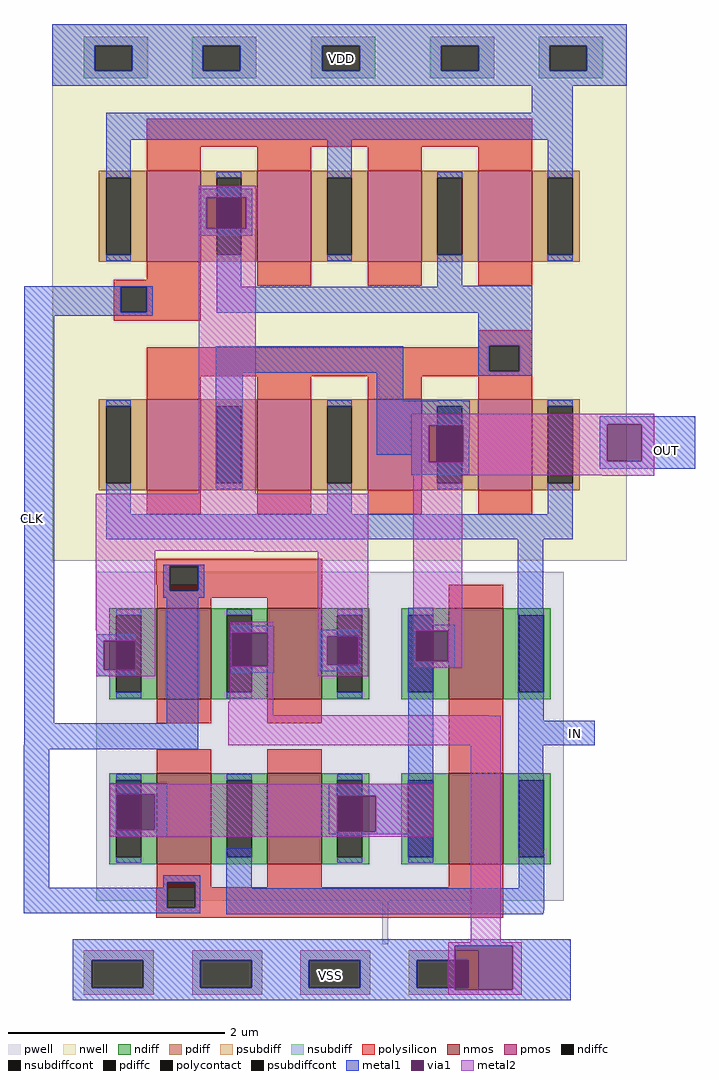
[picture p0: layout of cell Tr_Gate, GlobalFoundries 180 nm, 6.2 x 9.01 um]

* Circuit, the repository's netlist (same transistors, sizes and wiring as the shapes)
* NGSPICE file created from Tr_Gate.ext - technology: gf180mcuC

.subckt pmos_3p3_YMKZL5 a_n138_n84# a_50_n84# a_n50_n128# w_n224_n214#
X0 a_50_n84# a_n50_n128# a_n138_n84# w_n224_n214# pfet_03v3 ad=0.37p pd=2.56u as=0.37p ps=2.56u w=0.84u l=0.5u
.ends

.subckt nmos_3p3_UKFAHE a_n138_n84# a_50_n84# a_n50_n128# VSUBS
X0 a_50_n84# a_n50_n128# a_n138_n84# VSUBS nfet_03v3 ad=0.37p pd=2.56u as=0.37p ps=2.56u w=0.84u l=0.5u
.ends

.subckt Tr_Gate VSS OUT IN CLK VDD
Xpmos_3p3_YMKZL5_0 OUT IN a_174_n81# VDD pmos_3p3_YMKZL5
Xpmos_3p3_YMKZL5_1 IN OUT a_174_n81# VDD pmos_3p3_YMKZL5
Xpmos_3p3_YMKZL5_2 OUT IN a_174_n81# VDD pmos_3p3_YMKZL5
Xpmos_3p3_YMKZL5_3 IN OUT a_174_n81# VDD pmos_3p3_YMKZL5
Xpmos_3p3_YMKZL5_4 a_174_n81# VDD CLK VDD pmos_3p3_YMKZL5
Xpmos_3p3_YMKZL5_5 VDD a_174_n81# CLK VDD pmos_3p3_YMKZL5
Xnmos_3p3_UKFAHE_0 OUT IN CLK VSS nmos_3p3_UKFAHE
Xpmos_3p3_YMKZL5_6 a_174_n81# VDD CLK VDD pmos_3p3_YMKZL5
Xnmos_3p3_UKFAHE_1 IN OUT CLK VSS nmos_3p3_UKFAHE
Xpmos_3p3_YMKZL5_7 VDD a_174_n81# CLK VDD pmos_3p3_YMKZL5
Xnmos_3p3_UKFAHE_2 OUT IN CLK VSS nmos_3p3_UKFAHE
Xnmos_3p3_UKFAHE_3 OUT IN CLK VSS nmos_3p3_UKFAHE
Xnmos_3p3_UKFAHE_5 a_174_n81# VSS CLK VSS nmos_3p3_UKFAHE
Xnmos_3p3_UKFAHE_4 VSS a_174_n81# CLK VSS nmos_3p3_UKFAHE
.ends

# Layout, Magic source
magic
tech gf180mcuC
magscale 1 10
<< nwell >>
rect 0 428 1060 569
rect 815 342 870 380
rect 397 -180 398 -151
rect 145 -341 916 -337
<< pwell >>
rect 205 -475 206 -466
rect 217 -480 269 -434
rect 609 -1130 620 -442
<< pmos >>
rect 662 -180 663 -151
<< psubdiff >>
rect 58 -1160 187 -1141
rect 58 -1210 73 -1160
rect 168 -1210 187 -1160
rect 58 -1223 187 -1210
rect 258 -1160 387 -1141
rect 258 -1210 273 -1160
rect 368 -1210 387 -1160
rect 258 -1223 387 -1210
rect 458 -1160 587 -1141
rect 458 -1210 473 -1160
rect 568 -1210 587 -1160
rect 458 -1223 587 -1210
rect 658 -1160 787 -1141
rect 658 -1210 673 -1160
rect 768 -1210 787 -1160
rect 658 -1223 787 -1210
<< nsubdiff >>
rect 58 529 176 545
rect 58 483 78 529
rect 147 483 176 529
rect 58 469 176 483
rect 258 529 376 545
rect 258 483 278 529
rect 347 483 376 529
rect 258 469 376 483
rect 478 529 596 545
rect 478 483 498 529
rect 567 483 596 529
rect 478 469 596 483
rect 698 529 816 545
rect 698 483 718 529
rect 787 483 816 529
rect 698 469 816 483
rect 898 529 1016 545
rect 898 483 918 529
rect 987 483 1016 529
rect 898 469 1016 483
<< psubdiffcont >>
rect 73 -1210 168 -1160
rect 273 -1210 368 -1160
rect 473 -1210 568 -1160
rect 673 -1210 768 -1160
<< nsubdiffcont >>
rect 78 483 147 529
rect 278 483 347 529
rect 498 483 567 529
rect 718 483 787 529
rect 918 483 987 529
<< polysilicon >>
rect 174 342 886 394
rect 113 89 174 97
rect 113 84 274 89
rect 113 37 126 84
rect 174 37 274 84
rect 113 21 274 37
rect 786 -25 886 4
rect 786 -28 807 -25
rect 174 -72 807 -28
rect 862 -72 886 -25
rect 174 -81 886 -72
rect 192 -431 498 -418
rect 192 -466 217 -431
rect 205 -477 217 -466
rect 269 -466 498 -431
rect 269 -477 478 -466
rect 204 -490 478 -477
rect 490 -490 498 -466
rect 732 -770 832 -722
rect 192 -1063 212 -1025
rect 264 -1063 832 -1025
rect 192 -1081 832 -1063
<< polycontact >>
rect 126 37 174 84
rect 807 -72 862 -25
rect 217 -477 269 -431
rect 212 -1063 264 -1016
<< metal1 >>
rect 0 529 1060 569
rect 0 483 78 529
rect 147 483 278 529
rect 347 483 498 529
rect 567 483 718 529
rect 787 483 918 529
rect 987 483 1060 529
rect 0 455 1060 483
rect 885 405 961 455
rect 99 355 961 405
rect 99 285 145 355
rect 507 285 553 355
rect 915 285 961 355
rect 270 249 369 265
rect 270 191 284 249
rect 358 191 369 249
rect 270 178 369 191
rect -52 84 185 85
rect -52 37 126 84
rect 174 37 185 84
rect -52 30 185 37
rect 303 84 349 132
rect 711 86 757 132
rect 711 84 886 86
rect 303 36 886 84
rect -52 -722 3 30
rect 786 -25 886 36
rect 302 -75 648 -26
rect 302 -288 351 -75
rect 599 -127 648 -75
rect 786 -72 807 -25
rect 862 -72 886 -25
rect 786 -80 886 -72
rect 599 -172 771 -127
rect 599 -226 695 -172
rect 663 -240 695 -226
rect 759 -195 771 -172
rect 1011 -170 1187 -155
rect 759 -240 770 -195
rect 663 -263 770 -240
rect 1011 -238 1024 -170
rect 1088 -238 1187 -170
rect 1011 -252 1187 -238
rect 99 -336 145 -290
rect 507 -336 553 -290
rect 915 -336 961 -290
rect 99 -382 961 -336
rect 205 -431 280 -429
rect 205 -477 217 -431
rect 269 -477 280 -431
rect 205 -490 280 -477
rect 81 -570 154 -558
rect 81 -623 95 -570
rect 153 -623 154 -570
rect 81 -635 154 -623
rect 211 -722 269 -490
rect 657 -540 703 -509
rect 329 -555 409 -542
rect 329 -617 331 -555
rect 398 -617 409 -555
rect 329 -629 409 -617
rect 494 -561 567 -549
rect 494 -614 507 -561
rect 565 -614 567 -561
rect 494 -626 567 -614
rect 657 -551 743 -540
rect 657 -608 671 -551
rect 731 -608 743 -551
rect 657 -620 743 -608
rect -52 -762 269 -722
rect -53 -770 269 -762
rect -53 -1026 -6 -770
rect 106 -853 212 -833
rect 657 -834 703 -620
rect 859 -665 906 -382
rect 859 -667 907 -665
rect 106 -919 118 -853
rect 189 -919 212 -853
rect 106 -932 212 -919
rect 510 -856 703 -834
rect 510 -922 526 -856
rect 597 -922 703 -856
rect 510 -927 703 -922
rect 205 -1016 273 -1003
rect 205 -1026 212 -1016
rect -53 -1063 212 -1026
rect 264 -1063 273 -1016
rect -53 -1073 273 -1063
rect 321 -1027 368 -953
rect 657 -977 703 -927
rect 860 -717 907 -667
rect 860 -763 1001 -717
rect 860 -953 906 -763
rect 861 -1027 908 -954
rect 321 -1067 908 -1027
rect 321 -1072 907 -1067
rect 321 -1075 906 -1072
rect 38 -1133 957 -1121
rect 38 -1160 743 -1133
rect 38 -1210 73 -1160
rect 168 -1210 273 -1160
rect 368 -1210 473 -1160
rect 568 -1210 673 -1160
rect 38 -1214 743 -1210
rect 850 -1214 957 -1133
rect 38 -1233 957 -1214
<< via1 >>
rect 284 191 358 249
rect 695 -240 759 -172
rect 1024 -238 1088 -170
rect 95 -623 153 -570
rect 331 -617 398 -555
rect 507 -614 565 -561
rect 671 -608 731 -551
rect 118 -919 189 -853
rect 526 -922 597 -856
rect 743 -1160 850 -1133
rect 743 -1210 768 -1160
rect 768 -1210 850 -1160
rect 743 -1214 850 -1210
<< metal2 >>
rect 270 265 375 270
rect 270 249 376 265
rect 270 191 284 249
rect 358 191 376 249
rect 270 -298 375 191
rect 663 -170 1111 -151
rect 663 -172 1024 -170
rect 663 -240 695 -172
rect 759 -238 1024 -172
rect 1088 -238 1111 -170
rect 759 -240 1111 -238
rect 663 -264 1111 -240
rect 80 -404 583 -298
rect 80 -550 190 -404
rect 373 -405 583 -404
rect 81 -570 190 -550
rect 81 -623 95 -570
rect 153 -623 190 -570
rect 81 -635 190 -623
rect 327 -542 408 -535
rect 327 -555 409 -542
rect 327 -617 331 -555
rect 398 -617 409 -555
rect 327 -629 409 -617
rect 490 -561 583 -405
rect 490 -614 507 -561
rect 565 -614 583 -561
rect 327 -682 408 -629
rect 490 -635 583 -614
rect 666 -551 757 -264
rect 1015 -265 1111 -264
rect 666 -608 671 -551
rect 731 -608 757 -551
rect 666 -620 757 -608
rect 325 -707 408 -682
rect 325 -708 807 -707
rect 325 -763 828 -708
rect 106 -853 703 -834
rect 106 -919 118 -853
rect 189 -856 703 -853
rect 189 -919 526 -856
rect 106 -922 526 -919
rect 597 -922 703 -856
rect 106 -932 703 -922
rect 772 -1126 828 -763
rect 731 -1133 867 -1126
rect 731 -1214 743 -1133
rect 850 -1214 867 -1133
rect 731 -1223 867 -1214
use nmos_3p3_UKFAHE  nmos_3p3_UKFAHE_0
transform 1 0 243 0 1 -898
box -162 -152 162 152
use nmos_3p3_UKFAHE  nmos_3p3_UKFAHE_1
transform 1 0 447 0 1 -898
box -162 -152 162 152
use nmos_3p3_UKFAHE  nmos_3p3_UKFAHE_2
transform 1 0 782 0 1 -594
box -162 -152 162 152
use nmos_3p3_UKFAHE  nmos_3p3_UKFAHE_3
transform 1 0 782 0 1 -898
box -162 -152 162 152
use nmos_3p3_UKFAHE  nmos_3p3_UKFAHE_4
transform 1 0 447 0 1 -594
box -162 -152 162 152
use nmos_3p3_UKFAHE  nmos_3p3_UKFAHE_5
transform 1 0 243 0 1 -594
box -162 -152 162 152
use pmos_3p3_YMKZL5  pmos_3p3_YMKZL5_0
transform 1 0 428 0 1 -208
box -224 -214 224 214
use pmos_3p3_YMKZL5  pmos_3p3_YMKZL5_1
transform 1 0 632 0 1 -208
box -224 -214 224 214
use pmos_3p3_YMKZL5  pmos_3p3_YMKZL5_2
transform 1 0 836 0 1 -208
box -224 -214 224 214
use pmos_3p3_YMKZL5  pmos_3p3_YMKZL5_3
transform 1 0 224 0 1 -208
box -224 -214 224 214
use pmos_3p3_YMKZL5  pmos_3p3_YMKZL5_4
transform 1 0 836 0 1 214
box -224 -214 224 214
use pmos_3p3_YMKZL5  pmos_3p3_YMKZL5_5
transform 1 0 632 0 1 214
box -224 -214 224 214
use pmos_3p3_YMKZL5  pmos_3p3_YMKZL5_6
transform 1 0 428 0 1 214
box -224 -214 224 214
use pmos_3p3_YMKZL5  pmos_3p3_YMKZL5_7
transform 1 0 224 0 1 214
box -224 -214 224 214
<< labels >>
flabel psubdiffcont 514 -1187 514 -1187 0 FreeSans 480 0 0 0 VSS
port 0 nsew
flabel metal1 1133 -218 1133 -218 0 FreeSans 480 0 0 0 OUT
port 1 nsew
flabel metal1 966 -741 966 -741 0 FreeSans 480 0 0 0 IN
port 2 nsew
flabel metal1 -37 -344 -37 -344 0 FreeSans 480 0 0 0 CLK
port 3 nsew
flabel nsubdiffcont 533 506 533 506 0 FreeSans 640 0 0 0 VDD
port 5 nsew
<< end >>

# cell nmos_3p3_UKFAHE: kit device nmos_3p3, w 0.84 l 0.5 m 1 nf 1 diffcov 100 polycov 100 guard 0 glc 0 grc 0 gtc 0 gbc 0 tbcov 100 rlcov 100 topc 0 botc 0 poverlap 0 doverlap 1 lmin 0.28 wmin 0.22 full_metal 0 compatible {nmos_3p3 nmos_6p0 nmos_6p0_nat}

# cell pmos_3p3_YMKZL5: kit device pmos_3p3, w 0.84 l 0.5 m 1 nf 1 diffcov 100 polycov 100 guard 0 glc 0 grc 0 gtc 0 gbc 0 tbcov 100 rlcov 100 topc 0 botc 0 poverlap 0 doverlap 1 lmin 0.28 wmin 0.22 full_metal 0 compatible {pmos_3p3 pmos_6p0}
